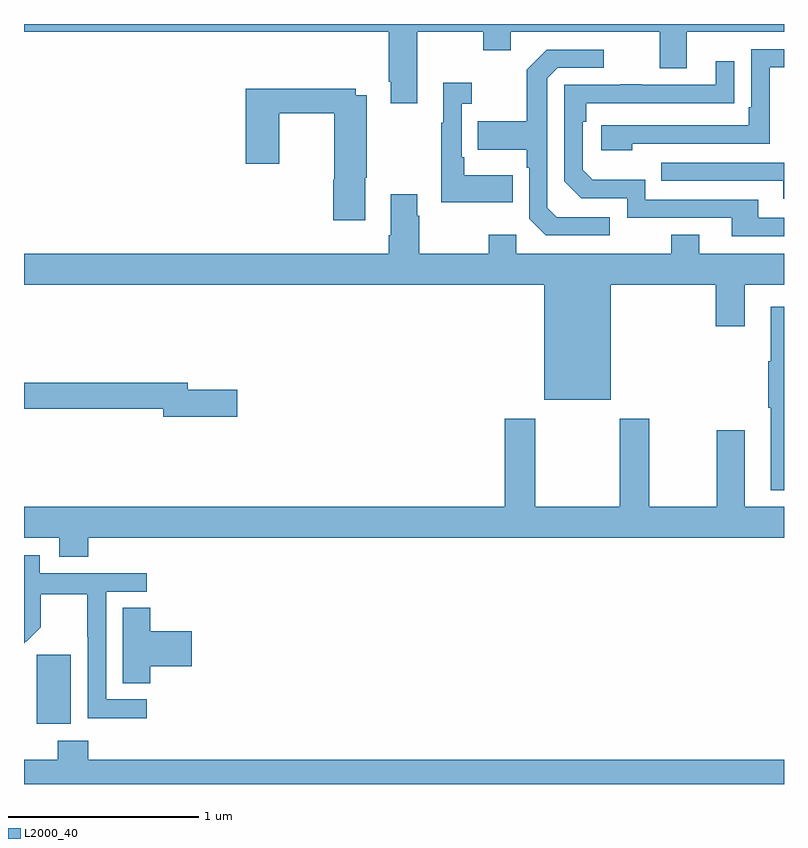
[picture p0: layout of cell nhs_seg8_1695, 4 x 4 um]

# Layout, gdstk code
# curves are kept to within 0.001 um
import gdstk
lib = gdstk.Library(unit=1e-6, precision=1e-09)
def R(c, l, rs):  # rectangles x0, y0, x1, y1
    for r in rs: c.add(gdstk.rectangle(r[:2], r[2:], *l))
def P(c, l, *ps):  # polygons
    for p in ps: c.add(gdstk.Polygon(p, *l))
L2000_40 = (2000, 40)

nhs_seg8_1695 = lib.new_cell('nhs_seg8_1695')
R(nhs_seg8_1695, L2000_40, [(219.068,1086.218,219.247,1086.579)])
P(nhs_seg8_1695, L2000_40, [(221.071,1089.86),(221.416,1089.86),(221.416,1089.761),(221.563,1089.761),(221.563,1089.86),(222.347,1089.86),(222.347,1089.666),(222.487,1089.666),(222.487,1089.86),(223,1089.86),(223,1089.9),(219,1089.9),(219,1089.86),(220.919,1089.86),(220.919,1089.595),(220.931,1089.595),(220.931,1089.483),(221.071,1089.483)],
  [(222.2,1089.27),(222.924,1089.27),(222.924,1089.672),(223,1089.672),(223,1089.768),(222.828,1089.768),(222.828,1089.463),(222.815,1089.463),(222.815,1089.366),(222.039,1089.366),(222.039,1089.236),(222.2,1089.236)],
  [(222.082,1088.883),(221.805,1088.883),(221.754,1088.934),(221.754,1089.615),(221.808,1089.669),(222.052,1089.669),(222.052,1089.765),(221.751,1089.765),(221.646,1089.659),(221.646,1089.387),(221.389,1089.387),(221.389,1089.239),(221.646,1089.239),(221.646,1089.143),(221.658,1089.143),(221.658,1088.874),(221.745,1088.787),(222.082,1088.787)],
  [(223,1088.88),(222.865,1088.88),(222.865,1088.976),(222.27,1088.976),(222.27,1089.079),(221.993,1089.079),(221.94,1089.132),(221.94,1089.386),(221.96,1089.386),(221.96,1089.483),(222.737,1089.484),(222.737,1089.703),(222.641,1089.703),(222.641,1089.579),(222.251,1089.579),(222.251,1089.584),(222.139,1089.584),(222.139,1089.579),(221.844,1089.579),(221.844,1089.072),(221.934,1088.982),(222.174,1088.982),(222.174,1088.88),(222.725,1088.88),(222.725,1088.784),(223,1088.784)],
  [(221.573,1089.103),(221.317,1089.103),(221.317,1089.199),(221.304,1089.199),(221.304,1089.479),(221.356,1089.479),(221.356,1089.592),(221.207,1089.592),(221.207,1089.379),(221.196,1089.379),(221.196,1088.963),(221.573,1088.963)],
  [(220.795,1089.091),(220.803,1089.091),(220.803,1089.526),(220.746,1089.526),(220.746,1089.559),(220.166,1089.559),(220.166,1089.165),(220.344,1089.165),(220.344,1089.43),(220.633,1089.43),(220.633,1089.08),(220.628,1089.08),(220.628,1088.868),(220.795,1088.868)],
  [(223,1089.171),(222.355,1089.171),(222.355,1089.075),(222.995,1089.075),(222.995,1088.981),(223,1088.981)],
  [(222.088,1088.528),(222.641,1088.528),(222.641,1088.31),(222.793,1088.31),(222.793,1088.528),(223,1088.528),(223,1088.692),(222.553,1088.692),(222.553,1088.791),(222.406,1088.791),(222.406,1088.692),(221.592,1088.692),(221.592,1088.791),(221.446,1088.791),(221.446,1088.692),(221.079,1088.692),(221.079,1088.891),(221.071,1088.891),(221.071,1089.004),(220.931,1089.004),(220.931,1088.788),(220.919,1088.788),(220.919,1088.692),(219,1088.692),(219,1088.528),(221.738,1088.528),(221.738,1087.922),(222.088,1087.922)],
  [(223,1088.413),(222.929,1088.413),(222.929,1088.124),(222.917,1088.124),(222.917,1087.88),(222.929,1087.88),(222.929,1087.445),(223,1087.445)],
  [(220.123,1087.976),(219.862,1087.976),(219.862,1088.012),(219,1088.012),(219,1087.876),(219.734,1087.876),(219.734,1087.834),(220.123,1087.834)],
  [(219.338,1087.196),(223,1087.196),(223,1087.36),(222.793,1087.36),(222.793,1087.762),(222.646,1087.762),(222.646,1087.36),(222.291,1087.36),(222.291,1087.822),(222.136,1087.822),(222.136,1087.36),(221.691,1087.36),(221.691,1087.822),(221.531,1087.822),(221.531,1087.36),(219,1087.36),(219,1087.196),(219.185,1087.196),(219.185,1087.097),(219.338,1087.097)],
  [(219.646,1086.345),(219.432,1086.345),(219.432,1086.912),(219.646,1086.912),(219.646,1087.008),(219.084,1087.008),(219.084,1087.105),(219,1087.105),(219,1086.642),(219.009,1086.651),(219.012,1086.648),(219.089,1086.725),(219.089,1086.9),(219.334,1086.9),(219.334,1086.676),(219.336,1086.676),(219.336,1086.247),(219.646,1086.247)],
  [(219.665,1086.521),(219.883,1086.521),(219.883,1086.704),(219.665,1086.704),(219.665,1086.827),(219.521,1086.827),(219.521,1086.43),(219.665,1086.43)],
  [(223,1086.028),(219.338,1086.028),(219.338,1086.127),(219.178,1086.127),(219.178,1086.028),(219,1086.028),(219,1085.9),(223,1085.9)])

lib.write_gds('nhs_seg8_1695.gds')
